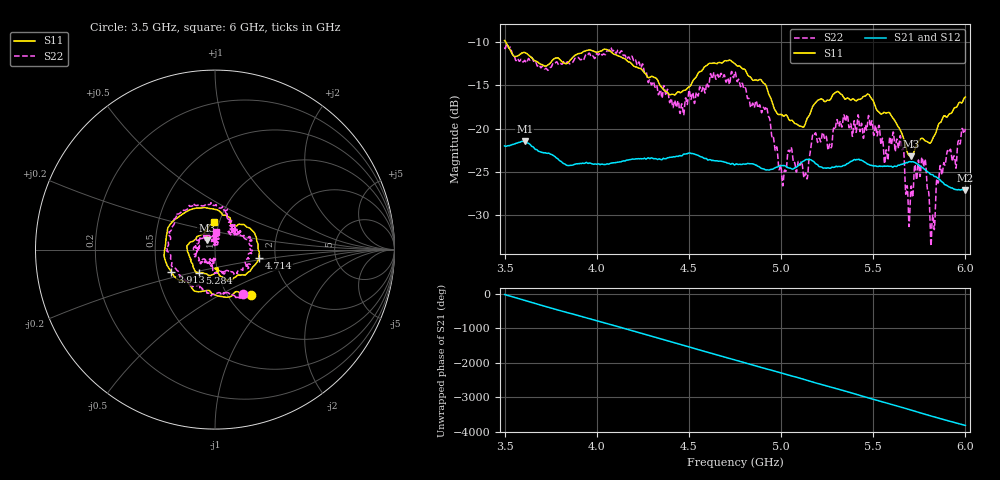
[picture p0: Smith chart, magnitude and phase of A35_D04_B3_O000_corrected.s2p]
! Created with skrf 1.9.0 (http://scikit-rf.org).
# Hz S RI R 50.0
!freq ReS11 ImS11 ReS21 ImS21 ReS12 ImS12 ReS22 ImS22
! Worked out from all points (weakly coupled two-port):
!   1601 points, 3.5 GHz to 6 GHz, reference 50 ohm
!   highest |S21| = -21.48 dB at 3.609 GHz (marker M1); lowest = -27.2 dB at 5.998 GHz (marker M2)
!   lowest |S11| = -23.2 dB at 5.703 GHz (marker M3), VSWR 1.15, Z = 45.4 + j4.75 ohm
!   |S11| at or under -10 dB: 3.507 GHz to end of sweep
!   |S22| runs from -33.6 to -10.2 dB; largest |S21 - S12| = 0.0011
!   S11 on the Smith chart (normalised r, x): 3.5 GHz: 1.27, -0.72; 3.913 GHz: 0.59, -0.16; 4.714 GHz: 1.64, -0.15; 5.284 GHz: 0.81, -0.22; 6 GHz: 0.94, +0.29
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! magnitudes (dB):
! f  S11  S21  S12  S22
! 3.5 GHz  -9.8  -22.0  -22.0  -10.6
! 3.609 GHz  -11.2  -21.5  -21.5  -12.1
! 3.913 GHz  -11.3  -24.0  -24.0  -12.0
! 3.917 GHz  -11.2  -24.1  -24.0  -12.0
! 4.125 GHz  -11.6  -23.9  -23.8  -11.2
! 4.334 GHz  -14.6  -23.5  -23.5  -16.1
! 4.714 GHz  -12.1  -24.0  -24.0  -14.3
! 4.75 GHz  -12.5  -24.2  -24.1  -13.4
! 4.925 GHz  -15.4  -24.8  -24.8  -17.8
! 5.003 GHz  -18.4  -24.3  -24.3  -25.2
! 5.048 GHz  -19.1  -24.6  -24.6  -22.6
! 5.134 GHz  -19.2  -23.6  -23.5  -25.3
! 5.167 GHz  -17.7  -23.7  -23.6  -21.3
! 5.284 GHz  -16.0  -24.5  -24.4  -20.0
! 5.584 GHz  -18.1  -24.4  -24.3  -22.3
! 5.655 GHz  -20.5  -24.1  -24.1  -22.3
! 5.703 GHz  -23.2  -23.8  -23.8  -27.3
! 5.773 GHz  -21.2  -24.7  -24.5  -24.4
! 5.822 GHz  -21.2  -25.4  -25.3  -30.2
! 5.855 GHz  -19.5  -25.8  -25.7  -26.1
! 5.998 GHz  -16.4  -27.2  -27.0  -20.1
! 6 GHz  -16.3  -27.1  -27.0  -20.0
